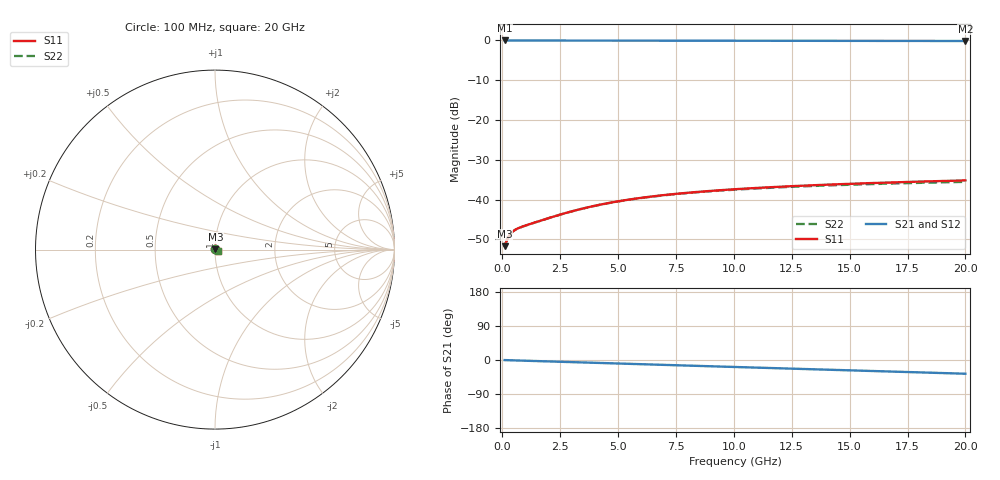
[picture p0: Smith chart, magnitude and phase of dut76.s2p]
! Touchstone file exported from HFSS 2026.1.0
!  File:  C:/ffzhzh/LocalFiles/Ansys_Project_Files/temp_train_TMRDL_76_1782881292_42304.aedt
!  Generated:  12:49:16 PM Jul  1, 2026
!  Design:  TMRDL
!  Project:  temp_train_TMRDL_76_1782881292_42304
! Variables:
!  h_bsmrdl = 2um
!  h_ox = 20um
!  h_rdl = 5um
!  h_sub = 80um
!  h_tmrdl = 4.08um
!  h_tsv = 80um
!  h_via = 3um
!  l_bsmrdl = 300um
!  l_sub = 1043.72um
!  l_tmrdl = 643.72um
!  m_sub = 200um
!  pitch = 30.41um
!  r_tsv = 6um
!  s_tmrdl = 10um
!  w_bsmrdl = 18um
!  w_sub = 500um
!  w_tmrdl = 25.53um
!  x_tsv_center1 = 656.485um
!  x_tsv_center2 = 974.485um
!  x_tsv_center3 = 1643.735um
!  x_tsv_center4 = 1961.735um
!  x_tsv_center5 = 2630.985um
!  x_tsv_center6 = 2948.985um
# GHz S MA R 50.000000
! Terminal data exported
! Port[1] = TM_RDL1_1_T1
! Port[2] = TM_RDL1_1_T2
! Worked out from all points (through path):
!   200 points, 100 MHz to 20 GHz, reference 50 ohm
!   highest |S21| = -0.02 dB at 100 MHz (marker M1); lowest = -0.2 dB at 20 GHz (marker M2)
!   group delay of S21, straight-line fit = 5.01 ps
!   lowest |S11| = -51.7 dB at 100 MHz (marker M3), VSWR 1.01, Z = 50.3 + j0.0699 ohm
!   |S11| at or under -10 dB: start of sweep to end of sweep
!   |S22| runs from -51.7 to -35.5 dB; largest |S21 - S12| = 2.4e-15
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0.1  0.002602 15.5  0.9975 -0.2  0.9975 -0.2  0.002602 15.5
! Gamma 0 0 0 0
! Port Impedance 50 0 50 0
0.2  0.003113 21.7  0.9971 -0.4  0.9971 -0.4  0.003113 21.7
0.3  0.003546 22.9  0.9967 -0.6  0.9967 -0.6  0.003545 22.8
0.4  0.003857 22.7  0.9965 -0.8  0.9965 -0.8  0.003854 22.7
0.5  0.004079 22.5  0.9962 -1.0  0.9962 -1.0  0.004075 22.5
0.6  0.004247 22.4  0.9961 -1.2  0.9961 -1.2  0.004243 22.4
0.8  0.004506 22.9  0.9959 -1.5  0.9959 -1.5  0.0045 22.9
1  0.004726 23.9  0.9957 -1.9  0.9957 -1.9  0.004719 23.9
2.1  0.005982 29.3  0.995 -4.0  0.995 -4.0  0.005973 29.4
2.8  0.006872 30.5  0.9944 -5.3  0.9944 -5.3  0.006858 30.6
3.5  0.007763 30.1  0.9938 -6.6  0.9938 -6.6  0.007744 30.3
4.2  0.008617 28.8  0.9931 -7.9  0.9931 -7.9  0.008589 29.0
5  0.009521 26.6  0.9923 -9.3  0.9923 -9.3  0.009481 26.8
5.9  0.01044 23.6  0.9914 -11.0  0.9914 -11.0  0.01038 23.8
6.8  0.01125 20.3  0.9905 -12.6  0.9905 -12.6  0.01117 20.6
7.5  0.01182 17.8  0.9899 -13.9  0.9899 -13.9  0.01172 18.1
8.3  0.01241 14.8  0.9892 -15.3  0.9892 -15.3  0.01229 15.2
10.1  0.01354 8.4  0.9878 -18.5  0.9878 -18.5  0.01336 8.8
11.6  0.01433 3.2  0.9868 -21.2  0.9868 -21.2  0.01409 3.7
13.4  0.01515 -2.8  0.9856 -24.4  0.9856 -24.4  0.01483 -2.3
16.7  0.0164 -13.3  0.9838 -30.3  0.9838 -30.3  0.01589 -12.7
20  0.01743 -23.3  0.9822 -36.2  0.9822 -36.2  0.01671 -22.6
